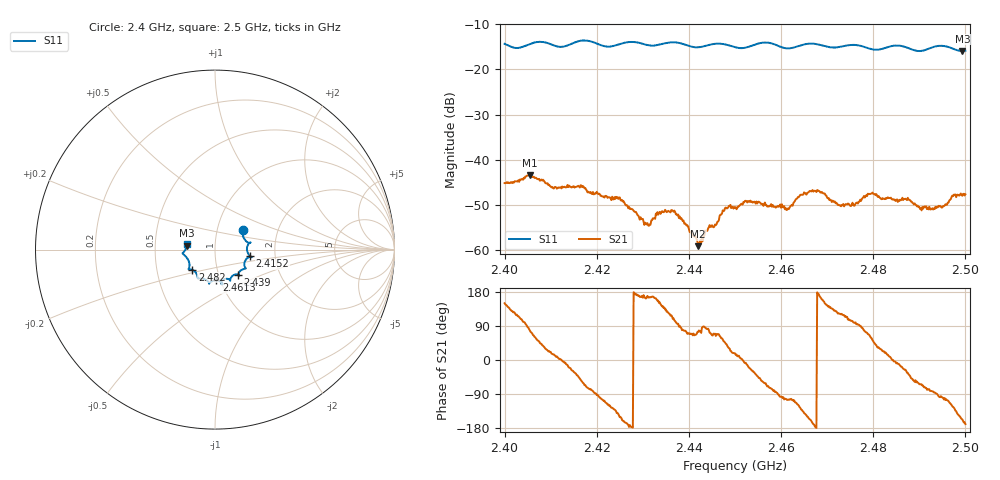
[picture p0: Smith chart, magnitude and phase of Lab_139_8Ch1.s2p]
# Hz S RI R 50
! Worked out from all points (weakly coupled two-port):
!   601 points, 2.4 GHz to 2.5 GHz, reference 50 ohm
!   highest |S21| = -43.48 dB at 2.4055 GHz (marker M1); lowest = -59.2 dB at 2.442 GHz (marker M2)
!   lowest |S11| = -15.9 dB at 2.4993 GHz (marker M3), VSWR 1.38, Z = 36.3 + j1.6 ohm
!   |S11| at or under -10 dB: start of sweep to end of sweep
!   S12 and S22 are empty: the file has one direction only
!   S11 on the Smith chart (normalised r, x): 2.4 GHz: 1.33, +0.31; 2.4152 GHz: 1.48, -0.11; 2.439 GHz: 1.24, -0.36; 2.4613 GHz: 0.96, -0.34; 2.482 GHz: 0.76, -0.17; 2.5 GHz: 0.73, +0.05
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2.4e9  0.1563 0.1117  -0.00474 0.00277  0 0  0 0
2.4055e9  0.1876 0.0379  0.00143 0.00655  0 0  0 0
2.415167e9  0.1951 -0.0367  0.00412 -0.00267  0 0  0 0
2.416667e9  0.2044 -0.0425  0.00298 -0.00421  0 0  0 0
2.425e9  0.1659 -0.0955  -0.00333 -0.00185  0 0  0 0
2.430833e9  0.1494 -0.1122  -0.00185 0.0005  0 0  0 0
2.433333e9  0.1323 -0.1325  -0.00226 0.00097  0 0  0 0
2.4365e9  0.1354 -0.1472  -0.000859 0.00257  0 0  0 0
2.439e9  0.1281 -0.1392  0.000439 0.0019  0 0  0 0
2.442e9  0.0983 -0.1459  0.000304 0.00106  0 0  0 0
2.447833e9  0.0837 -0.1698  0.00201 0.00209  0 0  0 0
2.45e9  0.0683 -0.1628  0.00277 0.000878  0 0  0 0
2.452833e9  0.0397 -0.1727  0.00334 -0.000983  0 0  0 0
2.461333e9  0.00812 -0.1708  -0.000744 -0.00269  0 0  0 0
2.466667e9  -0.0328 -0.1905  -0.00426 -0.0013  0 0  0 0
2.472833e9  -0.0761 -0.1608  -0.00163 0.00265  0 0  0 0
2.479333e9  -0.1028 -0.1342  0.00197 0.00366  0 0  0 0
2.482e9  -0.1268 -0.112  0.00343 0.00149  0 0  0 0
2.483333e9  -0.1398 -0.1099  0.00368 0.000713  0 0  0 0
2.492833e9  -0.1734 -0.0283  0.000367 -0.00286  0 0  0 0
2.499333e9  -0.1583 0.0215  -0.00366 -0.00155  0 0  0 0
2.5e9  -0.1579 0.0335  -0.00405 -0.000777  0 0  0 0
